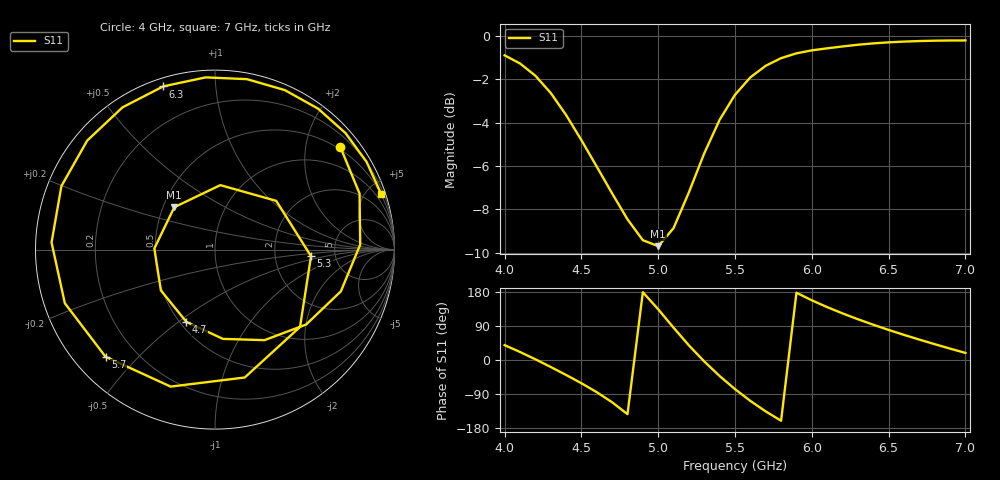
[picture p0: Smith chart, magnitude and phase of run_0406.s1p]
! Touchstone file exported from HFSS 2024.2.0
!  File:  C:/Users/wsak9/Desktop/Sim Fast/Widenad Patch/WP_AI_V1_sweep.aedt
!  Generated:  08:31:01 AM Oct 14, 2026
!  Design:  A1_model
!  Project:  WP_AI_V1_sweep
!  Setup:  Setup1
!  Solution:  Sweep
! Variables:
!  Air_gap = 4.58mm
!  Curve_Amp1 = 0.92
!  Curve_len1 = 1
!  Curve_pos = 11.82mm
!  Extra = 1.58mm
!  H_sub = 0.79mm
!  L_Patch = 19.64mm
!  L_Patch1 = 18.34mm
!  Sx = 3.25mm
!  Sy = 2.51mm
!  WS = 0.82mm
!  W_Patch = 18.11mm
!  W_Patch1 = 16.76mm
!Data is not renormalized
# GHz S MA
! Terminal data exported
! Port[1] = 1
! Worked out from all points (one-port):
!   31 points, 4 GHz to 7 GHz, reference per port
!   lowest |S11| = -9.7 dB at 5 GHz (marker M1), VSWR 1.97
!   |S11| at or under -10 dB: nowhere
!   S11 on the Smith chart (normalised r, x): 4 GHz: 0.45, +2.74; 4.7 GHz: 0.54, -0.54; 5.3 GHz: 3.27, -0.34; 5.7 GHz: 0.09, -0.40; 6.3 GHz: 0.04, +0.73; 7 GHz: 0.46, +6.05
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4  0.9018 39.2
4.1  0.8638 21.2
4.2  0.8096 2.0
4.3  0.7388 -18.3
4.4  0.6572 -39.4
4.5  0.5749 -61.3
4.6  0.4994 -84.9
4.7  0.4333 -111.5
4.8  0.3777 -143.0
4.9  0.338 178.9
5  0.3274 133.8
5.1  0.3604 85.3
5.2  0.436 38.5
5.3  0.5363 -3.9
5.4  0.6405 -42.3
5.5  0.7315 -76.9
5.6  0.8023 -107.9
5.7  0.8533 -135.6
5.8  0.8884 -160.3
5.9  0.9115 177.5
6  0.926 157.5
6.1  0.9359 139.5
6.2  0.9454 123.0
6.3  0.954 107.6
6.5  0.9662 79.4
6.7  0.9729 53.8
6.9  0.9757 30.1
7  0.9759 18.7
